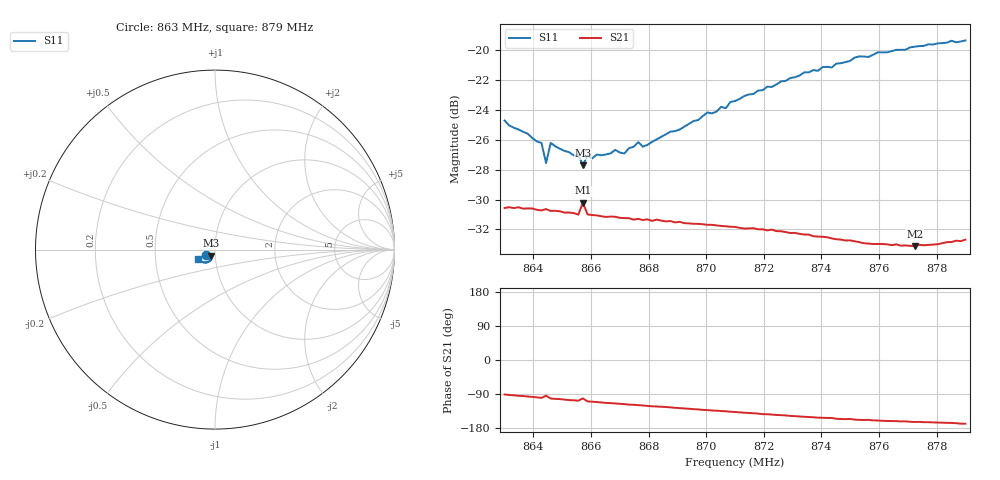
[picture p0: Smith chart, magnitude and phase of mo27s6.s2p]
# HZ S RI R 50
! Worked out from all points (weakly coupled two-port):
!   101 points, 863 MHz to 879 MHz, reference 50 ohm
!   highest |S21| = -30.22 dB at 865.72 MHz (marker M1); lowest = -33.1 dB at 877.24 MHz (marker M2)
!   lowest |S11| = -27.7 dB at 865.72 MHz (marker M3), VSWR 1.09, Z = 47.6 - j3.26 ohm
!   |S11| at or under -10 dB: start of sweep to end of sweep
!   S12 and S22 are empty: the file has one direction only
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8.63e8  -0.0494 -0.0306  -0.000535 -0.0296  0 0  0 0
8.6428e8  -0.0377 -0.0311  -0.00502 -0.0286  0 0  0 0
8.6444e8  -0.0306 -0.0286  -0.00217 -0.0293  0 0  0 0
8.646e8  -0.0383 -0.0304  -0.00581 -0.0284  0 0  0 0
8.6556e8  -0.0312 -0.0317  -0.00835 -0.0269  0 0  0 0
8.6572e8  -0.023 -0.0342  -0.0061 -0.0302  0 0  0 0
8.6588e8  -0.0291 -0.0335  -0.00936 -0.0266  0 0  0 0
8.6604e8  -0.0271 -0.0338  -0.00958 -0.0264  0 0  0 0
8.6684e8  -0.0259 -0.0384  -0.0115 -0.0252  0 0  0 0
8.6716e8  -0.0235 -0.0384  -0.0122 -0.0245  0 0  0 0
8.6764e8  -0.0233 -0.0433  -0.0133 -0.0238  0 0  0 0
8.678e8  -0.022 -0.0421  -0.0135 -0.0234  0 0  0 0
8.6844e8  -0.0221 -0.0462  -0.0148 -0.0224  0 0  0 0
8.6972e8  -0.0218 -0.054  -0.017 -0.02  0 0  0 0
8.7004e8  -0.0244 -0.0567  -0.0175 -0.0193  0 0  0 0
8.7068e8  -0.0248 -0.0588  -0.0183 -0.0181  0 0  0 0
8.7084e8  -0.0278 -0.0609  -0.0186 -0.0177  0 0  0 0
8.71e8  -0.0267 -0.062  -0.0188 -0.0174  0 0  0 0
8.7372e8  -0.0455 -0.0725  -0.0209 -0.0115  0 0  0 0
8.7644e8  -0.0726 -0.0673  -0.0211 -0.00722  0 0  0 0
8.7724e8  -0.0805 -0.0634  -0.0212 -0.00623  0 0  0 0
8.79e8  -0.0951 -0.0501  -0.0227 -0.00477  0 0  0 0
